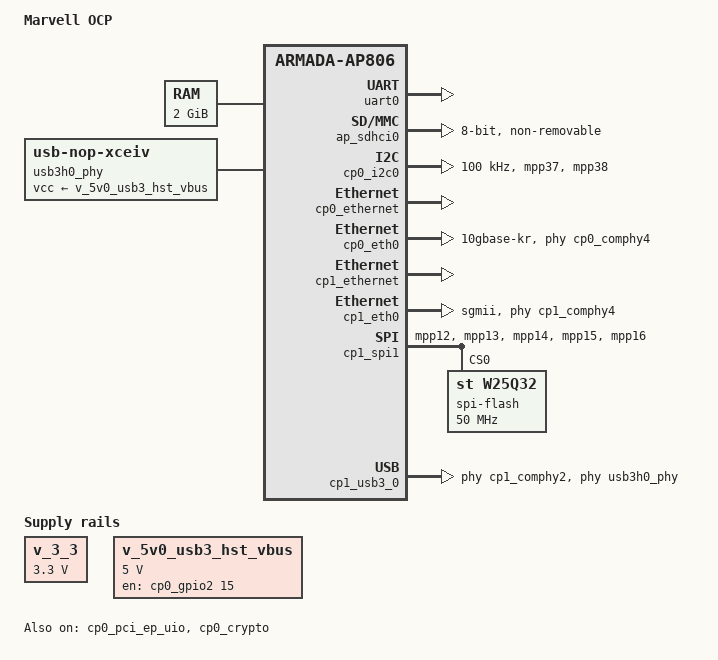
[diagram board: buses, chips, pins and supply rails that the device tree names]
// SPDX-License-Identifier: (GPL-2.0+ OR MIT)
/*
 * Copyright (C) 2019 Marvell Technology Group Ltd.
 *
 * Device Tree file for OCP Armada board platform
 */

#include "armada-8040.dtsi"

#include <dt-bindings/gpio/gpio.h>

/ {
	model = "Marvell OCP";
	compatible = "marvell,armada8040-ocp", "marvell,armada8040",
			"marvell,armada-ap806-quad", "marvell,armada-ap806";

	chosen {
		stdout-path = "serial0:115200n8";
	};

	memory@0 {
		device_type = "memory";
		reg = <0x0 0x0 0x0 0x80000000>;
	};

	reserved-memory {
		#address-cells = <2>;
		#size-cells = <2>;
		ranges;

		/* The PCI console memory must be reserved */
		console_reserved: pci-console-nexus@3f000000 {
			compatible = "marvell,pci-console-nexus-memory";
			reg = <0 0x3f000000 0 0x1000000>;
			no-map;
		};
	};

	aliases {
		ethernet0 = &cp0_eth0;
		ethernet1 = &cp1_eth0;
	};

	/* Regulator labels correspond with schematics */
	v_3_3: regulator-3-3v {
		compatible = "regulator-fixed";
		regulator-name = "v_3_3";
		regulator-min-microvolt = <3300000>;
		regulator-max-microvolt = <3300000>;
		regulator-always-on;
		status = "okay";
	};

	v_5v0_usb3_hst_vbus: regulator-usb3-vbus0 {
		compatible = "regulator-fixed";
		enable-active-high;
		gpio = <&cp0_gpio2 15 GPIO_ACTIVE_HIGH>;
		pinctrl-names = "default";
		pinctrl-0 = <&cp0_xhci_vbus_pins>;
		regulator-name = "v_5v0_usb3_hst_vbus";
		regulator-min-microvolt = <5000000>;
		regulator-max-microvolt = <5000000>;
		status = "okay";
	};

	usb3h0_phy: usb3_phy0 {
		compatible = "usb-nop-xceiv";
		vcc-supply = <&v_5v0_usb3_hst_vbus>;
	};
};

&smmu {
	/* Should only be enabled on RC side */
	status = "disabled";
};

&uart0 {
	status = "okay";
	pinctrl-0 = <&uart0_pins>;
	pinctrl-names = "default";
};

&ap_sdhci0 {
	bus-width = <8>;
	no-1-8-v;
	no-sd;
	no-sdio;
	non-removable;
	status = "okay";
	vqmmc-supply = <&v_3_3>;
};

&dma_xor0 {
	status = "okay";
};

&dma_xor1 {
	status = "okay";
};

&xor0 {
	status = "disabled";
};

&xor1 {
	status = "disabled";
};

&uio_xor0 {
	status = "disabled";
};

&uio_xor1 {
	status = "disabled";
};

&cp0_i2c0 {
	clock-frequency = <100000>;
	pinctrl-names = "default";
	pinctrl-0 = <&cp0_i2c0_pins>;
	status = "okay";
};

&cp0_pci_ep_uio {
	status = "okay";
};

&cp0_pcie_ep {
	status = "okay";
};

&cp0_comphy0 {
	phy-skip-config;
};

&cp0_comphy1 {
	phy-skip-config;
};

&cp0_comphy2 {
	phy-skip-config;
};

&cp0_comphy3 {
	phy-skip-config;
};

&cp0_armada_ep {
	status = "okay";
};

&cp0_pinctrl {
	cp0_i2c0_pins: i2c0-pins {
		marvell,pins = "mpp37", "mpp38";
		marvell,function = "i2c0";
	};
	cp0_xhci_vbus_pins: xhci0-vbus-pins {
		marvell,pins = "mpp47";
		marvell,function = "gpio";
	};
};

&cp0_ethernet {
	status = "okay";
};

&cp0_eth0 {
	status = "okay";
	/* Network PHY */
	managed = "in-band-status";
	phy-mode = "10gbase-kr";
	/* Generic PHY, providing serdes lanes */
	phys = <&cp0_comphy4 0>;
};

&cp1_ethernet {
	status = "okay";
};

&cp1_eth0 {
	status = "okay";
	/* Network PHY */
	managed = "in-band-status";
	phy-mode = "sgmii";
	/* Generic PHY, providing serdes lanes */
	phys = <&cp1_comphy4 0>;
};

&cp1_pinctrl {
	cp1_spi1_pins: spi1-pins {
		marvell,pins = "mpp12", "mpp13", "mpp14", "mpp15", "mpp16";
		marvell,function = "spi1";
	};
};

&cp1_spi1 {
	pinctrl-names = "default";
	pinctrl-0 = <&cp1_spi1_pins>;
	reg = <0x700680 0x50>,          /* control */
	      <0x2000000 0x1000000>;    /* CS0 */
	status = "okay";

	spi-flash@0 {
		compatible = "st,w25q32";
		spi-max-frequency = <50000000>;
		reg = <0>;
	};
};

&cp1_usb3_0 {
	/* CPS Lane 2 - CON7 */
	usb-phy = <&usb3h0_phy>;
	status = "okay";
	/* Generic PHY, providing serdes lanes */
	phys = <&cp1_comphy2 0>;
};

&cp0_crypto {
	status = "okay";
};
